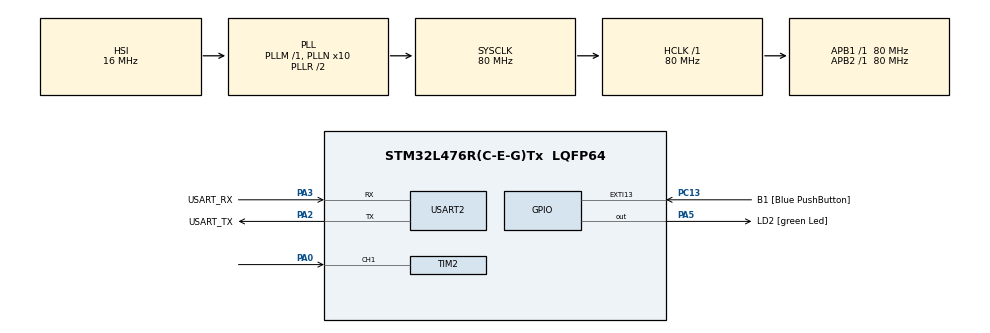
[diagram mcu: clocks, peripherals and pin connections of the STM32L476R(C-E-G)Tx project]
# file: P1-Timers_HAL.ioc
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Mcu.Family=STM32L4
Mcu.Name=STM32L476R(C-E-G)Tx
Mcu.Package=LQFP64
NVIC.PriorityGroup=NVIC_PRIORITYGROUP_4
PA0.Signal=S_TIM2_CH1
PA13\ (JTMS-SWDIO).GPIO_Label=TMS
PA13\ (JTMS-SWDIO).Mode=Serial_Wire
PA13\ (JTMS-SWDIO).Signal=SYS_JTMS-SWDIO
PA14\ (JTCK-SWCLK).GPIO_Label=TCK
PA14\ (JTCK-SWCLK).Mode=Serial_Wire
PA14\ (JTCK-SWCLK).Signal=SYS_JTCK-SWCLK
PA2.GPIO_Label=USART_TX
PA2.GPIO_Mode=GPIO_MODE_AF_PP
PA2.GPIO_PuPd=GPIO_NOPULL
PA2.GPIO_Speed=GPIO_SPEED_FREQ_VERY_HIGH
PA2.Mode=Asynchronous
PA2.Signal=USART2_TX
PA3.GPIO_Label=USART_RX
PA3.GPIO_Mode=GPIO_MODE_AF_PP
PA3.GPIO_PuPd=GPIO_NOPULL
PA3.GPIO_Speed=GPIO_SPEED_FREQ_VERY_HIGH
PA3.Mode=Asynchronous
PA3.Signal=USART2_RX
PA5.GPIO_Label=LD2 [green Led]
PA5.GPIO_ModeDefaultOutputPP=GPIO_MODE_OUTPUT_PP
PA5.GPIO_PuPd=GPIO_NOPULL
PA5.GPIO_Speed=GPIO_SPEED_FREQ_LOW
PA5.Signal=GPIO_Output
PB3\ (JTDO-TRACESWO).GPIO_Label=SWO
PB3\ (JTDO-TRACESWO).Signal=SYS_JTDO-SWO
PC13.GPIO_Label=B1 [Blue PushButton]
PC13.GPIO_ModeDefaultEXTI=GPIO_MODE_IT_FALLING
PC13.GPIO_PuPd=GPIO_NOPULL
PC13.Signal=GPXTI13
PC14-OSC32_IN\ (PC14).Mode=LSE-External-Oscillator
PC14-OSC32_IN\ (PC14).Signal=RCC_OSC32_IN
PC15-OSC32_OUT\ (PC15).Mode=LSE-External-Oscillator
PC15-OSC32_OUT\ (PC15).Signal=RCC_OSC32_OUT
PH0-OSC_IN\ (PH0).Signal=RCC_OSC_IN
PH1-OSC_OUT\ (PH1).Signal=RCC_OSC_OUT
ProjectManager.HeapSize=0x200
ProjectManager.StackSize=0x400
ProjectManager.TargetToolchain=STM32CubeIDE
RCC.ADCFreq_Value=64000000
RCC.AHBFreq_Value=80000000
RCC.APB1Freq_Value=80000000
RCC.APB1TimFreq_Value=80000000
RCC.APB2Freq_Value=80000000
RCC.APB2TimFreq_Value=80000000
RCC.CortexFreq_Value=80000000
RCC.HCLKFreq_Value=80000000
RCC.HSE_VALUE=8000000
RCC.HSI_VALUE=16000000
RCC.MSI_VALUE=4000000
RCC.PLLN=10
RCC.PLLSourceVirtual=RCC_PLLSOURCE_HSI
RCC.PREFETCH_ENABLE=1
RCC.SYSCLKFreq_VALUE=80000000
RCC.SYSCLKSource=RCC_SYSCLKSOURCE_PLLCLK
RCC.USBFreq_Value=64000000
RCC.VCOOutputFreq_Value=160000000
SH.S_TIM2_CH1.0=TIM2_CH1,Input_Capture1_from_TI1
TIM2.AutoReloadPreload=TIM_AUTORELOAD_PRELOAD_ENABLE
TIM2.Channel-Input_Capture1_from_TI1=TIM_CHANNEL_1
TIM2.ICPolarity_CH1=TIM_INPUTCHANNELPOLARITY_BOTHEDGE
TIM2.Prescaler=79
USART2.VirtualMode-Asynchronous=VM_ASYNC
VP_TIM2_VS_ClockSourceINT.Mode=Internal
board=NUCLEO-L476RG

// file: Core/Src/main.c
/* USER CODE BEGIN Header */
/**
  ******************************************************************************
  * @file           : main.c
  * @brief          : Main program body
  ******************************************************************************
  * @attention
  *
  * Copyright (c) 2023 STMicroelectronics.
  * All rights reserved.
  *
  * This software is licensed under terms that can be found in the LICENSE file
  * in the root directory of this software component.
  * If no LICENSE file comes with this software, it is provided AS-IS.
  *
  ******************************************************************************
  */
/* USER CODE END Header */
#include "main.h"

/* USER CODE BEGIN Includes */
#include <string.h>
#include <stdio.h>
#include <ctype.h>

/* USER CODE END Includes */

/* USER CODE BEGIN PD */
#define MIN_PERIOD 50
#define MAX_PERIOD 9950
/* USER CODE END PD */

TIM_HandleTypeDef htim2;

UART_HandleTypeDef huart2;

void SystemClock_Config(void);
static void MX_GPIO_Init(void);
static void MX_USART2_UART_Init(void);
static void MX_TIM2_Init(void);
/* USER CODE BEGIN PFP */

// ask user for expected period, sets timer clock accordingly. Return period or 0 if invalid
int set_timer_base( int i );

//POST
_bool power_on_self_test(void);

//prints user messages
void print_bad_input(void);
void print_setting_clock(void);

// Captures 1 line of text from console. Returns nul terminated string when \n is entered
void get_line ( void *buffer, int max_length);

/* USER CODE END PFP */

/* USER CODE BEGIN 0 */
char message[128];
char buffer[128];
char invalid_messaage[] = "Invalid period input\r\n";
char setting_clock_messaage[] = "Setting Clock Parameters\r\n";
int buckets[MAX_PERIOD+100+1];
int duty_buckets[101];

/* USER CODE END 0 */

int main(void)
{

  /* MCU Configuration--------------------------------------------------------*/

  /* Reset of all peripherals, Initializes the Flash interface and the Systick. */
  HAL_Init();

  /* Configure the system clock */
  SystemClock_Config();

  /* Initialize all configured peripherals */
  MX_GPIO_Init();
  MX_USART2_UART_Init();
  MX_TIM2_Init();
  /* USER CODE BEGIN 2 */

  //start timer 2
  HAL_TIM_IC_Start_IT(&htim2, TIM_CHANNEL_1);

  //configure some variables to be used later
  int mess_len = sprintf((char *)message, "Enter expected period or <CR> if no change\r\n");
  int n = 0;
  int period = 950;

  /* USER CODE END 2 */

  /* Infinite loop */
  while (1)
  {

    /* USER CODE BEGIN 3 */
	  //send the query message
	  HAL_UART_Transmit(&huart2, (void*)&message, mess_len, HAL_MAX_DELAY);

	  //POST
	  while(power_on_self_test() == false);

	  //store the old period in case the user wants the same one
	  int old_period = period;

	  //get the new period and keep asking until a valid input is given
	  period = set_timer_base(old_period);
	  while(period == 0){
		  period = set_timer_base(old_period);
	  }

	  //clear the buckets
	  memset(buckets, 0, MAX_PERIOD+100);
	  memset(duty_buckets, 0, 100);

	  //confirm the period
	  n = sprintf((char *)buffer, "Period is %d\r\n", period);
	  HAL_UART_Transmit(&huart2, (void*)&buffer, n, HAL_MAX_DELAY);

	  //wait for the next rising edge. This is to allow the duty cycle calculation to be correct
	  while((GPIOA->IDR)&1){
		  continue;
	  }

	  //get the initial timer value
	  uint32_t tim_val1 = HAL_TIM_ReadCapturedValue(&htim2, TIM_CHANNEL_1);
	  uint32_t tim_val2 = tim_val1;

	  //capture 100 cycles
	  for(int i = 0; i < 1000; i++){
		  //keep checking for a new value
		  while(tim_val2 == tim_val1){
		  	  tim_val2 = HAL_TIM_ReadCapturedValue(&htim2, TIM_CHANNEL_1);
		  }
		  //find the time for the high portion of the wave
		  uint32_t up_diff = tim_val2-tim_val1;
		  tim_val1 = tim_val2;
		  //wait until the next edge
		  while(tim_val2 == tim_val1){
			  tim_val1 = HAL_TIM_ReadCapturedValue(&htim2, TIM_CHANNEL_1);
		  }

		  //find the time of the low signal
		  uint32_t down_diff = tim_val1-tim_val2;

		  //find the total wave period
		  uint32_t total_diff = up_diff+down_diff;

		  //increment the period at the given location
		  buckets[total_diff]++;

		  //calculate the duty cycle
		  int cycle = (up_diff*100)/total_diff;
		  //increment the duty cycle bucket
		  duty_buckets[100-cycle]++;
		  //set the value for the next loop
		  tim_val2 = tim_val1;
	  }

	  //print out the period buckets
	  n = sprintf((char *)buffer, "Timing Buckets:\r\n");
	  HAL_UART_Transmit(&huart2, (void*)&buffer, n, HAL_MAX_DELAY);

	  for(int i = 0; i <= MAX_PERIOD+100; i++){
		  //only print non empty buckets
		  if(buckets[i] != 0){
			  n = sprintf((char *)buffer, "%d %d\r\n", i, buckets[i]);
			  HAL_UART_Transmit(&huart2, (void*)&buffer, n, HAL_MAX_DELAY);
			  //reset the bucket value
			  buckets[i] = 0;
		  }
	  }

	  //print out the duty cycle buckets
	  n = sprintf((char *)buffer, "Duty Cycle Buckets:\r\n");
	  HAL_UART_Transmit(&huart2, (void*)&buffer, n, HAL_MAX_DELAY);
	  for(int i = 0; i <= 100; i++){
		  //only print non empty buckets
	  	  if(duty_buckets[i] != 0){
	  		  n = sprintf((char *)buffer, "%%%d %d\r\n", i, duty_buckets[i]);
	  		  HAL_UART_Transmit(&huart2, (void*)&buffer, n, HAL_MAX_DELAY);
	  		  duty_buckets[i] = 0;

	  	  }
	  }

  }
  /* USER CODE END 3 */
}

void SystemClock_Config(void)
{
  RCC_OscInitTypeDef RCC_OscInitStruct = {0};
  RCC_ClkInitTypeDef RCC_ClkInitStruct = {0};

  /** Configure the main internal regulator output voltage
  */
  if (HAL_PWREx_ControlVoltageScaling(PWR_REGULATOR_VOLTAGE_SCALE1) != HAL_OK)
  {
    Error_Handler();
  }

  /** Initializes the RCC Oscillators according to the specified parameters
  * in the RCC_OscInitTypeDef structure.
  */
  RCC_OscInitStruct.OscillatorType = RCC_OSCILLATORTYPE_HSI;
  RCC_OscInitStruct.HSIState = RCC_HSI_ON;
  RCC_OscInitStruct.HSICalibrationValue = RCC_HSICALIBRATION_DEFAULT;
  RCC_OscInitStruct.PLL.PLLState = RCC_PLL_ON;
  RCC_OscInitStruct.PLL.PLLSource = RCC_PLLSOURCE_HSI;
  RCC_OscInitStruct.PLL.PLLM = 1;
  RCC_OscInitStruct.PLL.PLLN = 10;
  RCC_OscInitStruct.PLL.PLLP = RCC_PLLP_DIV7;
  RCC_OscInitStruct.PLL.PLLQ = RCC_PLLQ_DIV2;
  RCC_OscInitStruct.PLL.PLLR = RCC_PLLR_DIV2;
  if (HAL_RCC_OscConfig(&RCC_OscInitStruct) != HAL_OK)
  {
    Error_Handler();
  }

  /** Initializes the CPU, AHB and APB buses clocks
  */
  RCC_ClkInitStruct.ClockType = RCC_CLOCKTYPE_HCLK|RCC_CLOCKTYPE_SYSCLK
                              |RCC_CLOCKTYPE_PCLK1|RCC_CLOCKTYPE_PCLK2;
  RCC_ClkInitStruct.SYSCLKSource = RCC_SYSCLKSOURCE_PLLCLK;
  RCC_ClkInitStruct.AHBCLKDivider = RCC_SYSCLK_DIV1;
  RCC_ClkInitStruct.APB1CLKDivider = RCC_HCLK_DIV1;
  RCC_ClkInitStruct.APB2CLKDivider = RCC_HCLK_DIV1;

  if (HAL_RCC_ClockConfig(&RCC_ClkInitStruct, FLASH_LATENCY_4) != HAL_OK)
  {
    Error_Handler();
  }
}

static void MX_TIM2_Init(void)
{

  TIM_ClockConfigTypeDef sClockSourceConfig = {0};
  TIM_MasterConfigTypeDef sMasterConfig = {0};
  TIM_IC_InitTypeDef sConfigIC = {0};

  htim2.Instance = TIM2;
  htim2.Init.Prescaler = 79;
  htim2.Init.CounterMode = TIM_COUNTERMODE_UP;
  htim2.Init.Period = 4294967295;
  htim2.Init.ClockDivision = TIM_CLOCKDIVISION_DIV1;
  htim2.Init.AutoReloadPreload = TIM_AUTORELOAD_PRELOAD_ENABLE;
  if (HAL_TIM_Base_Init(&htim2) != HAL_OK)
  {
    Error_Handler();
  }
  sClockSourceConfig.ClockSource = TIM_CLOCKSOURCE_INTERNAL;
  if (HAL_TIM_ConfigClockSource(&htim2, &sClockSourceConfig) != HAL_OK)
  {
    Error_Handler();
  }
  if (HAL_TIM_IC_Init(&htim2) != HAL_OK)
  {
    Error_Handler();
  }
  sMasterConfig.MasterOutputTrigger = TIM_TRGO_RESET;
  sMasterConfig.MasterSlaveMode = TIM_MASTERSLAVEMODE_DISABLE;
  if (HAL_TIMEx_MasterConfigSynchronization(&htim2, &sMasterConfig) != HAL_OK)
  {
    Error_Handler();
  }
  sConfigIC.ICPolarity = TIM_INPUTCHANNELPOLARITY_BOTHEDGE;
  sConfigIC.ICSelection = TIM_ICSELECTION_DIRECTTI;
  sConfigIC.ICPrescaler = TIM_ICPSC_DIV1;
  sConfigIC.ICFilter = 0;
  if (HAL_TIM_IC_ConfigChannel(&htim2, &sConfigIC, TIM_CHANNEL_1) != HAL_OK)
  {
    Error_Handler();
  }

}

static void MX_USART2_UART_Init(void)
{

  huart2.Instance = USART2;
  huart2.Init.BaudRate = 115200;
  huart2.Init.WordLength = UART_WORDLENGTH_8B;
  huart2.Init.StopBits = UART_STOPBITS_1;
  huart2.Init.Parity = UART_PARITY_NONE;
  huart2.Init.Mode = UART_MODE_TX_RX;
  huart2.Init.HwFlowCtl = UART_HWCONTROL_NONE;
  huart2.Init.OverSampling = UART_OVERSAMPLING_16;
  huart2.Init.OneBitSampling = UART_ONE_BIT_SAMPLE_DISABLE;
  huart2.AdvancedInit.AdvFeatureInit = UART_ADVFEATURE_NO_INIT;
  if (HAL_UART_Init(&huart2) != HAL_OK)
  {
    Error_Handler();
  }

}

static void MX_GPIO_Init(void)
{
  GPIO_InitTypeDef GPIO_InitStruct = {0};

  /* GPIO Ports Clock Enable */
  __HAL_RCC_GPIOC_CLK_ENABLE();
  __HAL_RCC_GPIOH_CLK_ENABLE();
  __HAL_RCC_GPIOA_CLK_ENABLE();
  __HAL_RCC_GPIOB_CLK_ENABLE();

  /*Configure GPIO pin Output Level */
  HAL_GPIO_WritePin(LD2_GPIO_Port, LD2_Pin, GPIO_PIN_RESET);

  /*Configure GPIO pin : B1_Pin */
  GPIO_InitStruct.Pin = B1_Pin;
  GPIO_InitStruct.Mode = GPIO_MODE_IT_FALLING;
  GPIO_InitStruct.Pull = GPIO_NOPULL;
  HAL_GPIO_Init(B1_GPIO_Port, &GPIO_InitStruct);

  /*Configure GPIO pin : LD2_Pin */
  GPIO_InitStruct.Pin = LD2_Pin;
  GPIO_InitStruct.Mode = GPIO_MODE_OUTPUT_PP;
  GPIO_InitStruct.Pull = GPIO_NOPULL;
  GPIO_InitStruct.Speed = GPIO_SPEED_FREQ_LOW;
  HAL_GPIO_Init(LD2_GPIO_Port, &GPIO_InitStruct);

}

/* USER CODE BEGIN 4 */

/*
 * POST method to ensure proper bring-up
 */
_bool power_on_self_test(void){
	 uint32_t tim_val1 = TIM2->CCR1;
	 uint32_t tim_val2 = tim_val1;
	 uint32_t start_time = TIM2->CNT;
	 while(1){
		if(tim_val1 == tim_val2){
			tim_val2 = TIM2->CCR1;
			if(TIM2->CNT - start_time > 100000){
				return false;
			}
		}
		else{
			return true;
		}
	 }
}

/*
 * prints the message indicating clock settings are updating
 */
void print_setting_clock(){
	HAL_UART_Transmit(&huart2, (void*)&setting_clock_messaage, sizeof(setting_clock_messaage), HAL_MAX_DELAY);
}

/*
 * tells the user bad input was given
 */
void print_bad_input(void){
	HAL_UART_Transmit(&huart2, (void*)&invalid_messaage, sizeof(invalid_messaage), HAL_MAX_DELAY);
}

/*
 * parses the user input and returns the new period or an error
 */
int set_timer_base(int old_period){
	//get the next user input
	get_line(buffer, sizeof(buffer));
	//if the string is empty return error
	if(buffer[0] == 0){
		print_bad_input();
		return 0;
	}
	//if the entry is a CR return the old period
	else if(buffer[0] == 13){
		return old_period;
	}
	//current temp period
	int period = 0;
	for(int i = 0; i < sizeof(buffer); i++){
		//stop at the newline
		if(buffer[i] == 13){
			break;
		}
		//make sure input is a number
		if(buffer[i] > 57 || buffer[i] < 48){
			print_bad_input();
			return 0;
		}
		//multiply temp period by 10 then add the current digit
		period *= 10;
		period += (buffer[i]-48);
		//make sure the period isnt too large
		if(period > MAX_PERIOD){
			print_bad_input();
			return 0;
		}
	}
	//make sure the period isnt too small
	if(period < MIN_PERIOD){
		print_bad_input();
		return 0;
	}
	print_setting_clock();
	return period;
}

/*
 * reads in the uart bytes until the next newline
 */
void get_line( void *buffer, int max_length){
	//temp variables
	int char_count = 0;
	char out_buf[max_length];

	//loop until the max length of the buffer
	while(char_count < max_length-1){
		char rxByte;
		//receive the next byte
		HAL_UART_Receive(&huart2, (void*)&rxByte, 1, HAL_MAX_DELAY);
		//store the byte in the temp buffer
		out_buf[char_count] = rxByte;
		//increment the index
		char_count++;
		//loopback the user input so they can see what they put in
		HAL_UART_Transmit(&huart2, (void*)&rxByte, 1, HAL_MAX_DELAY);
		//break on new line
		if(rxByte == 13){
			if(char_count == 1){
				//if a newline was entered only, clear the output buffer
				memset(buffer, 0, max_length);
			}
			break;
		}
	}
	memcpy(buffer, out_buf, max_length);
}

/* USER CODE END 4 */

void Error_Handler(void)
{
  __disable_irq();
  while (1)
  {
  }
}
